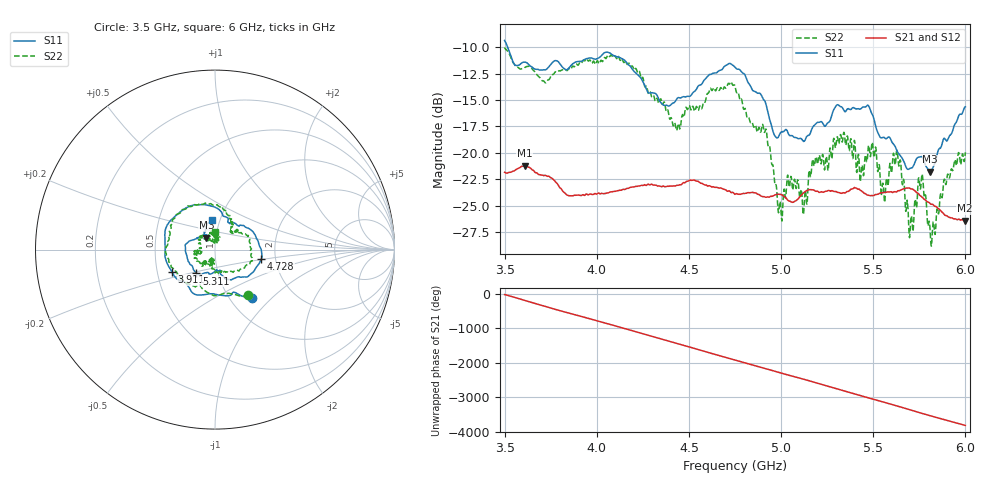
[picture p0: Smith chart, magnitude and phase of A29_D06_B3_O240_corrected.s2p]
! Created with skrf 1.9.0 (http://scikit-rf.org).
# Hz S RI R 50.0
!freq ReS11 ImS11 ReS21 ImS21 ReS12 ImS12 ReS22 ImS22
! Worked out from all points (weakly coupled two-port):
!   1601 points, 3.5 GHz to 6 GHz, reference 50 ohm
!   highest |S21| = -21.21 dB at 3.609 GHz (marker M1); lowest = -26.4 dB at 5.995 GHz (marker M2)
!   lowest |S11| = -21.8 dB at 5.809 GHz (marker M3), VSWR 1.18, Z = 45.1 + j6 ohm
!   |S11| at or under -10 dB: 3.516 GHz to end of sweep
!   |S22| runs from -28.8 to -10.0 dB; largest |S21 - S12| = 0.00095
!   S11 on the Smith chart (normalised r, x): 3.5 GHz: 1.26, -0.77; 3.911 GHz: 0.60, -0.16; 4.728 GHz: 1.68, -0.19; 5.311 GHz: 0.79, -0.21; 6 GHz: 0.92, +0.31
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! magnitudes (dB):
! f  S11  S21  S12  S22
! 3.5 GHz  -9.4  -21.8  -21.8  -10.0
! 3.609 GHz  -11.4  -21.2  -21.2  -11.9
! 3.911 GHz  -11.4  -24.0  -24.0  -11.5
! 3.917 GHz  -11.3  -24.0  -24.0  -11.5
! 4.127 GHz  -11.0  -23.5  -23.5  -11.2
! 4.334 GHz  -14.8  -23.1  -23.1  -15.2
! 4.442 GHz  -14.8  -23.1  -23.0  -17.2
! 4.728 GHz  -11.6  -23.7  -23.6  -13.3
! 4.75 GHz  -11.9  -23.9  -23.8  -13.7
! 4.911 GHz  -15.1  -24.2  -24.1  -18.1
! 4.995 GHz  -18.1  -23.9  -23.9  -24.6
! 5.044 GHz  -18.3  -24.5  -24.5  -23.2
! 5.13 GHz  -18.8  -23.7  -23.7  -23.7
! 5.167 GHz  -17.7  -23.5  -23.4  -21.1
! 5.311 GHz  -15.5  -23.7  -23.7  -19.0
! 5.584 GHz  -18.5  -23.7  -23.6  -22.2
! 5.638 GHz  -20.1  -23.6  -23.5  -21.1
! 5.706 GHz  -21.4  -23.4  -23.3  -26.0
! 5.758 GHz  -20.4  -24.1  -24.0  -23.3
! 5.809 GHz  -21.8  -24.8  -24.7  -27.6
! 5.995 GHz  -15.7  -26.4  -26.3  -20.7
! 6 GHz  -15.6  -26.4  -26.3  -19.9
